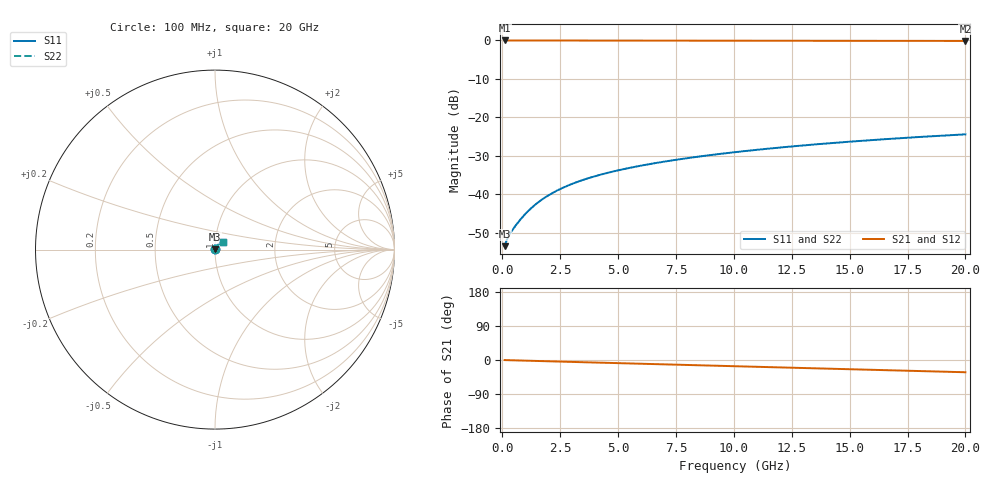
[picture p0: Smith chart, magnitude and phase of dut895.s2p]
! Touchstone file exported from HFSS 2026.1.0
!  File:  C:/ffzhzh/LocalFiles/Ansys_Project_Files/temp_train_TMRDL_895_1783157728_43440.aedt
!  Generated:  05:36:32 PM Jul  4, 2026
!  Design:  TMRDL
!  Project:  temp_train_TMRDL_895_1783157728_43440
! Variables:
!  h_bsmrdl = 2um
!  h_ox = 20um
!  h_rdl = 5um
!  h_sub = 80um
!  h_tmrdl = 5.54um
!  h_tsv = 80um
!  h_via = 3um
!  l_bsmrdl = 300um
!  l_sub = 974.62um
!  l_tmrdl = 574.62um
!  m_sub = 200um
!  pitch = 28.53um
!  r_tsv = 6um
!  s_tmrdl = 10um
!  w_bsmrdl = 18um
!  w_sub = 500um
!  w_tmrdl = 21.47um
!  x_tsv_center1 = 585.355um
!  x_tsv_center2 = 903.355um
!  x_tsv_center3 = 1499.445um
!  x_tsv_center4 = 1817.445um
!  x_tsv_center5 = 2413.535um
!  x_tsv_center6 = 2731.535um
# GHz S MA R 50.000000
! Terminal data exported
! Port[1] = TM_RDL1_1_T1
! Port[2] = TM_RDL1_1_T2
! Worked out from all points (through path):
!   200 points, 100 MHz to 20 GHz, reference 50 ohm
!   highest |S21| = -0.02 dB at 100 MHz (marker M1); lowest = -0.1 dB at 20 GHz (marker M2)
!   group delay of S21, straight-line fit = 4.47 ps
!   lowest |S11| = -53.5 dB at 100 MHz (marker M3), VSWR 1.00, Z = 50.2 + j0.0809 ohm
!   |S11| at or under -10 dB: start of sweep to end of sweep
!   |S22| runs from -53.5 to -24.4 dB; largest |S21 - S12| = 2.1e-15
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0.1  0.002115 22.4  0.998 -0.2  0.998 -0.2  0.002115 22.4
! Gamma 0 0 0 0
! Port Impedance 50 0 50 0
0.2  0.002591 30.8  0.9978 -0.4  0.9978 -0.4  0.002591 30.8
0.3  0.002965 36.0  0.9976 -0.5  0.9976 -0.5  0.002964 36.0
0.5  0.003647 44.6  0.9973 -0.9  0.9973 -0.9  0.003646 44.6
0.7  0.004379 51.1  0.9971 -1.2  0.9971 -1.2  0.004378 51.1
0.9  0.005164 55.6  0.997 -1.5  0.997 -1.5  0.005163 55.6
1.1  0.00598 58.7  0.9969 -1.9  0.9969 -1.9  0.00598 58.7
1.4  0.007229 61.6  0.9966 -2.4  0.9966 -2.4  0.007229 61.6
1.8  0.00889 63.6  0.9963 -3.1  0.9963 -3.1  0.008891 63.6
2.3  0.01091 64.6  0.9959 -3.9  0.9959 -3.9  0.01091 64.6
2.9  0.01322 64.7  0.9953 -4.9  0.9953 -4.9  0.01322 64.7
3.5  0.01541 64.4  0.9947 -5.9  0.9947 -5.9  0.01541 64.4
4.2  0.01782 63.7  0.994 -7.0  0.994 -7.0  0.01782 63.7
4.9  0.02013 63.0  0.9933 -8.2  0.9933 -8.2  0.02012 63.1
5.8  0.02296 62.1  0.9925 -9.6  0.9925 -9.6  0.02296 62.1
6.8  0.02599 61.1  0.9917 -11.2  0.9917 -11.2  0.02598 61.1
8.3  0.03036 59.5  0.9907 -13.6  0.9907 -13.6  0.03035 59.5
10.1  0.0354 57.4  0.9895 -16.5  0.9895 -16.5  0.03539 57.5
11.7  0.03973 55.6  0.9886 -19.1  0.9886 -19.1  0.03972 55.6
13.4  0.04418 53.5  0.9876 -21.8  0.9876 -21.8  0.04417 53.5
16.7  0.05241 49.2  0.9859 -27.1  0.9859 -27.1  0.0524 49.3
20  0.06005 44.8  0.9843 -32.3  0.9843 -32.3  0.06003 44.8
